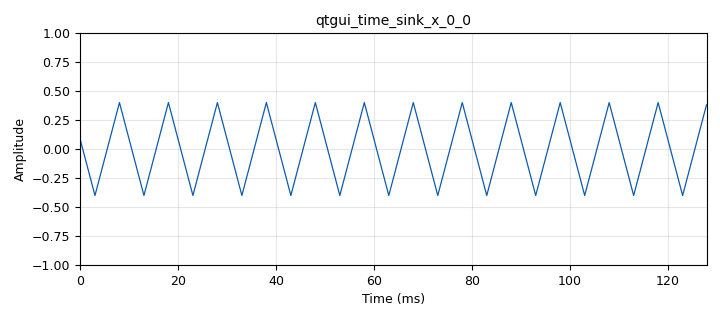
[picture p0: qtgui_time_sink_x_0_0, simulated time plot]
options:
  parameters:
    generate_options: qt_gui
    id: openht_test_tx
    output_language: python
    title: OpenHT TX test
  states: {}

blocks:
- name: dest_ip
  id: variable
  parameters:
    value: '"192.168.2.99"'
  states: {}
- name: dest_port
  id: variable
  parameters:
    value: '10000'
  states: {}
- name: in_samp_rate
  id: variable
  parameters:
    value: '8000'
  states: {}
- name: out_samp_rate
  id: variable
  parameters:
    value: '400000'
  states: {}
- name: analog_sig_source_x_0
  id: analog_sig_source_x
  parameters:
    amp: '.8'
    freq: '100'
    offset: '-.4'
    phase: '0'
    samp_rate: in_samp_rate
    type: float
    waveform: analog.GR_TRI_WAVE
  states: {}
- name: blocks_throttle2_0
  id: blocks_throttle2
  parameters:
    samples_per_second: in_samp_rate
    type: float
  states: {}
- name: network_udp_sink_0
  id: network_udp_sink
  parameters:
    addr: dest_ip
    header: '0'
    payloadsize: '700'
    port: dest_port
    send_eof: 'False'
    type: float
  states: {}
- name: network_udp_source_0
  id: network_udp_source
  parameters:
    header: '0'
    ipv6: 'False'
    notify_missed: 'False'
    port: '10001'
    src_zeros: 'False'
    type: complex
  states: {}
- name: qtgui_const_sink_x_0
  id: qtgui_const_sink_x
  parameters:
    size: '1024'
    type: complex
  states: {}
- name: qtgui_freq_sink_x_0
  id: qtgui_freq_sink_x
  parameters:
    bw: in_samp_rate
    fc: '0'
    fftsize: '1024'
    type: complex
  states: {}
- name: qtgui_time_sink_x_0
  id: qtgui_time_sink_x
  parameters:
    size: '1024'
    srate: in_samp_rate
    type: complex
  states: {}
- name: qtgui_time_sink_x_0_0
  id: qtgui_time_sink_x
  parameters:
    size: '1024'
    srate: in_samp_rate
    type: float
  states: {}

connections:
- [analog_sig_source_x_0, '0', blocks_throttle2_0, '0']
- [blocks_throttle2_0, '0', network_udp_sink_0, '0']
- [blocks_throttle2_0, '0', qtgui_time_sink_x_0_0, '0']
- [network_udp_source_0, '0', qtgui_const_sink_x_0, '0']
- [network_udp_source_0, '0', qtgui_freq_sink_x_0, '0']
- [network_udp_source_0, '0', qtgui_time_sink_x_0, '0']

metadata:
  file_format: 1
  grc_version: g4903380
